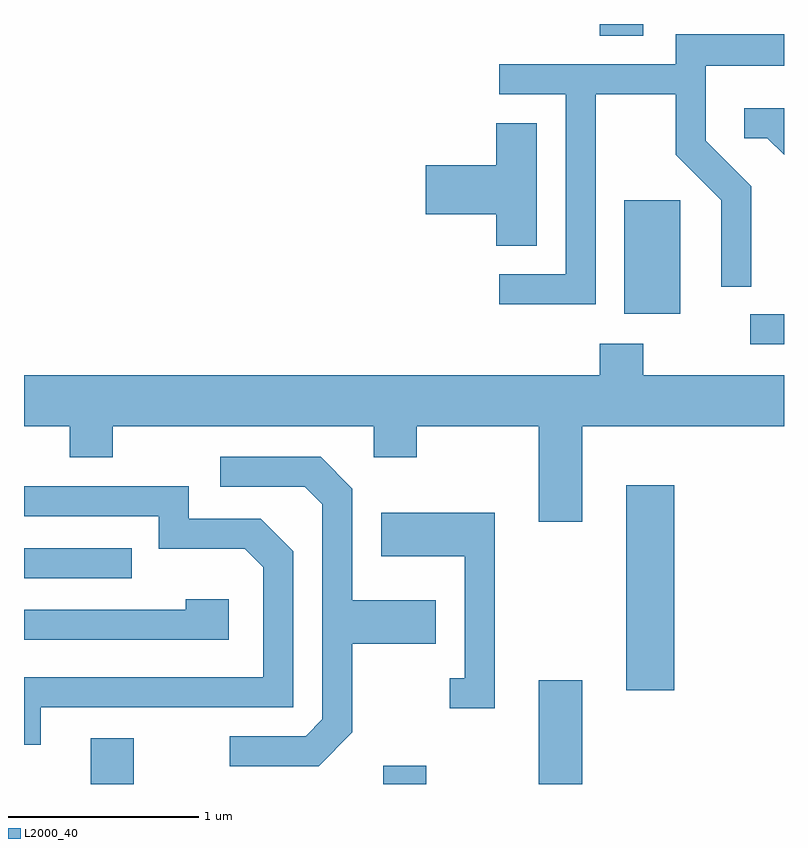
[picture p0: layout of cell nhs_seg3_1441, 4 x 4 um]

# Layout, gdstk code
import gdstk
lib = gdstk.Library(unit=1e-6, precision=1e-09)
def R(c, l, rs):  # rectangles x0, y0, x1, y1
    for r in rs: c.add(gdstk.rectangle(r[:2], r[2:], *l))
def P(c, l, *ps):  # polygons
    for p in ps: c.add(gdstk.Polygon(p, *l))
L2000_40 = (2000, 40)

nhs_seg3_1441 = lib.new_cell('nhs_seg3_1441')
R(nhs_seg3_1441, L2000_40, [(227.961,1141.892,228.189,1142.134), (229.501,1141.892,229.729,1141.989), (230.321,1141.892,230.549,1142.439), (230.781,1142.386,231.034,1143.464), (227.611,1142.976,228.178,1143.134), (231.433,1144.206,231.611,1144.364), (230.771,1144.366,231.064,1144.964), (230.641,1145.831,230.869,1145.892)])
P(nhs_seg3_1441, L2000_40, [(230.619,1145.521),(231.041,1145.521),(231.041,1145.204),(231.281,1144.964),(231.281,1144.508),(231.439,1144.508),(231.439,1145.037),(231.199,1145.277),(231.199,1145.671),(231.611,1145.671),(231.611,1145.839),(231.041,1145.839),(231.041,1145.679),(230.113,1145.679),(230.113,1145.521),(230.461,1145.521),(230.461,1144.574),(230.113,1144.574),(230.113,1144.416),(230.619,1144.416)],
  [(231.611,1145.449),(231.403,1145.449),(231.403,1145.291),(231.524,1145.291),(231.611,1145.204)],
  [(230.309,1145.369),(230.096,1145.369),(230.096,1145.149),(229.726,1145.149),(229.726,1144.891),(230.096,1144.891),(230.096,1144.726),(230.309,1144.726)],
  [(230.549,1143.776),(231.611,1143.776),(231.611,1144.044),(230.869,1144.044),(230.869,1144.209),(230.641,1144.209),(230.641,1144.044),(227.611,1144.044),(227.611,1143.776),(227.851,1143.776),(227.851,1143.611),(228.079,1143.611),(228.079,1143.776),(229.451,1143.776),(229.451,1143.611),(229.679,1143.611),(229.679,1143.776),(230.321,1143.776),(230.321,1143.271),(230.549,1143.271)],
  [(229.339,1142.164),(229.339,1142.631),(229.779,1142.631),(229.779,1142.859),(229.339,1142.859),(229.339,1143.447),(229.172,1143.614),(228.643,1143.614),(228.643,1143.456),(229.089,1143.456),(229.181,1143.364),(229.181,1142.232),(229.094,1142.144),(228.693,1142.144),(228.693,1141.986),(229.162,1141.986)],
  [(227.699,1142.296),(229.029,1142.296),(229.029,1143.117),(228.857,1143.289),(228.479,1143.289),(228.479,1143.459),(227.611,1143.459),(227.611,1143.301),(228.321,1143.301),(228.321,1143.131),(228.774,1143.131),(228.871,1143.034),(228.871,1142.454),(227.611,1142.454),(227.611,1142.098),(227.699,1142.098)],
  [(230.089,1143.319),(229.491,1143.319),(229.491,1143.091),(229.931,1143.091),(229.931,1142.449),(229.853,1142.449),(229.853,1142.291),(230.089,1142.291)],
  [(228.689,1142.864),(228.461,1142.864),(228.461,1142.809),(227.611,1142.809),(227.611,1142.651),(228.689,1142.651)])

lib.write_gds('nhs_seg3_1441.gds')
